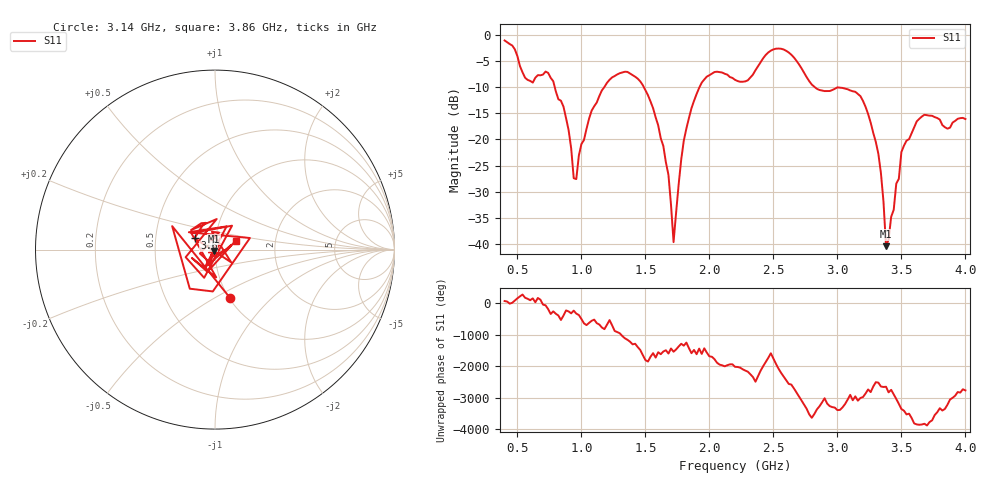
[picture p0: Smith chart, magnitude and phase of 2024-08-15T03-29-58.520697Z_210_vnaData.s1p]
!Created with skrf (http://scikit-rf.org).
# Hz S RI R 50.0
!freq ReS11 ImS11
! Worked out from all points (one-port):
!   181 points, 400 MHz to 4 GHz, reference 50 ohm
!   lowest |S11| = -40.4 dB at 3.38 GHz (marker M1), VSWR 1.02, Z = 49.4 - j0.747 ohm
!   |S11| at or under -10 dB: 791.8 MHz to 1.179 GHz (387 MHz wide, 39.3 % of centre); 1.488 GHz to 1.923 GHz (435.2 MHz wide, 25.5 % of centre); 2.823 GHz to end of sweep
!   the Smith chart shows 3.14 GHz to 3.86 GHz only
!   S11 on the Smith chart (normalised r, x): 3.14 GHz: 1.01, -0.60; 3.6 GHz: 0.79, +0.10; 3.86 GHz: 1.26, +0.13
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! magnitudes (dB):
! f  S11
! 400 MHz  -1.1
! 580 MHz  -8.6
! 740 MHz  -7.3
! 860 MHz  -13.7
! 940 MHz  -27.4
! 960 MHz  -27.6
! 1.08 GHz  -14.5
! 1.3 GHz  -7.3
! 1.56 GHz  -14.0
! 1.68 GHz  -26.8
! 1.72 GHz  -39.6
! 1.76 GHz  -28.6
! 1.82 GHz  -17.9
! 1.94 GHz  -9.1
! 2.2 GHz  -8.6
! 2.5 GHz  -2.8
! 2.66 GHz  -4.3
! 2.84 GHz  -10.3
! 3.1 GHz  -10.6
! 3.14 GHz  -10.9
! 3.32 GHz  -22.8
! 3.36 GHz  -31.9
! 3.38 GHz  -40.4
! 3.5 GHz  -22.4
! 3.56 GHz  -19.9
! 3.6 GHz  -17.7
! 3.86 GHz  -17.9
! 4 GHz  -16.1
